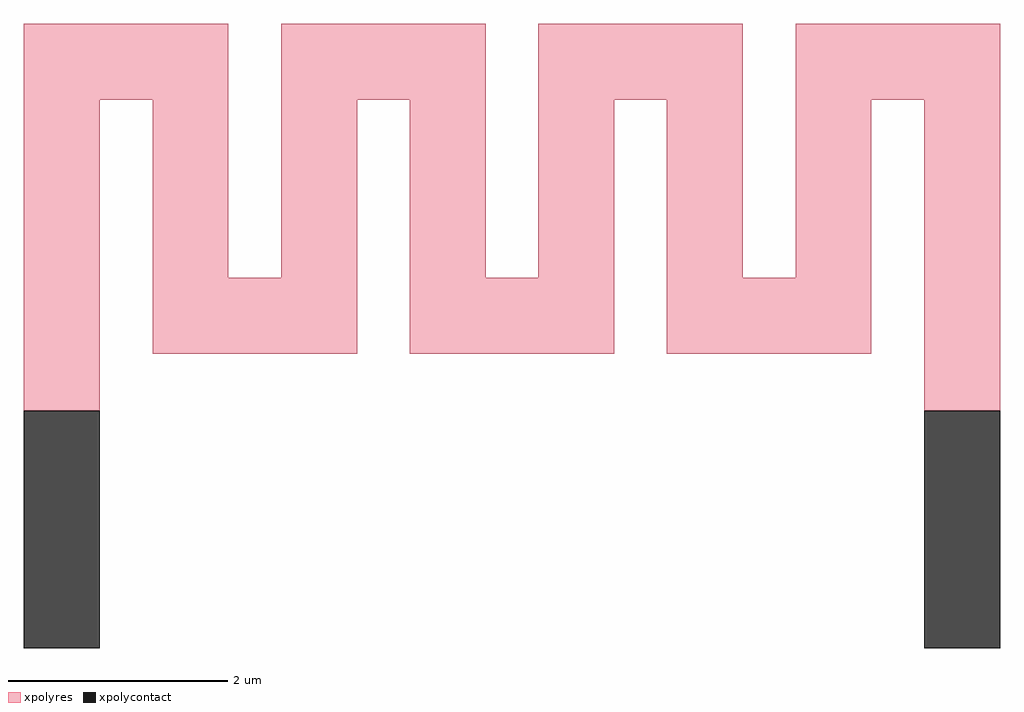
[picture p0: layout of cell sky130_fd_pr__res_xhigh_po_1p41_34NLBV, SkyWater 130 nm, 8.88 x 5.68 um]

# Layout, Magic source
magic
tech sky130A
<< xpolycontact >>
rect -444 -284 -375 -68
rect 375 -284 444 -68
<< xpolyres >>
rect -444 215 -258 284
rect -444 -68 -375 215
rect -327 53 -258 215
rect -210 215 -24 284
rect -210 53 -141 215
rect -327 -16 -141 53
rect -93 53 -24 215
rect 24 215 210 284
rect 24 53 93 215
rect -93 -16 93 53
rect 141 53 210 215
rect 258 215 444 284
rect 258 53 327 215
rect 141 -16 327 53
rect 375 -68 444 215
<< properties >>
string gencell sky130_fd_pr__res_xhigh_po_1p41
string library sky130
string parameters w 0.690 l 3 m 1 nx 8 wmin 0.690 lmin 0.50 rho 2000 val 84.11k dummy 0 dw 0.0 term 188.2 sterm 0.0 caplen 0 wmax 0.690 guard 0 glc 0 grc 0 gtc 0 gbc 0 compatible {sky130_fd_pr__res_xhigh_po_0p35  sky130_fd_pr__res_xhigh_po_0p69 sky130_fd_pr__res_xhigh_po_1p41  sky130_fd_pr__res_xhigh_po_2p85 sky130_fd_pr__res_xhigh_po_5p73} snake 1 full_metal 0 n_guard 0 hv_guard 0 vias 1 viagb 0 viagt 0 viagl 0 viagr 0
<< end >>
